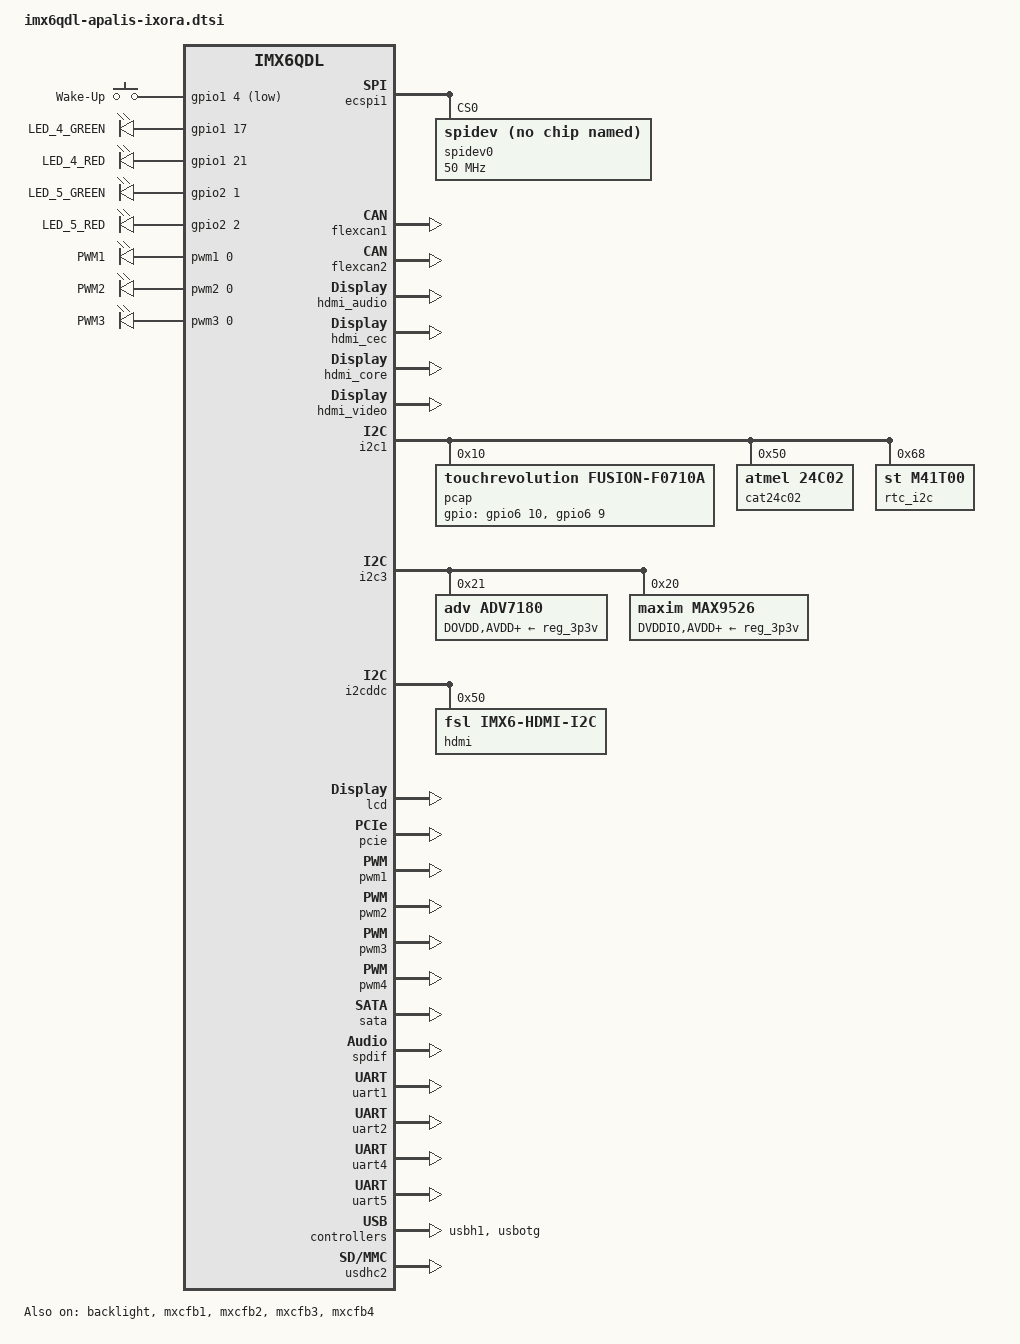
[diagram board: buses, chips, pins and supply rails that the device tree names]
/*
 * Copyright 2014-2015 Toradex AG
 * Copyright 2012 Freescale Semiconductor, Inc.
 * Copyright 2011 Linaro Ltd.
 *
 * The code contained herein is licensed under the GNU General Public
 * License. You may obtain a copy of the GNU General Public License
 * Version 2 or later at the following locations:
 *
 * http://www.opensource.org/licenses/gpl-license.html
 * http://www.gnu.org/copyleft/gpl.html
 */

/ {
	aliases {
		i2c0 = &i2cddc;
		i2c1 = &i2c1;
		i2c2 = &i2c2;
		i2c3 = &i2c3;
	};

	aliases {
		/* the following, together with kernel patches, forces a fixed assignment
		   between device id and usdhc controller */
		/* i.e. the eMMC on usdhc3 will be /dev/mmcblk0 */
		mmc0 = &usdhc3; /* eMMC */
		mmc2 = &usdhc2; /* SD1  4bit slot */
	};

	aliases {
		rtc0 = &rtc_i2c;
		rtc1 = "/soc/aips-bus@02000000/snvs@020cc000/snvs-rtc-lp@34";
	};

	gpio-keys {
		compatible = "gpio-keys";
		pinctrl-names = "default";
		pinctrl-0 = <&pinctrl_gpio_keys>;

		wakeup {
			label = "Wake-Up";
			gpios = <&gpio1 4 GPIO_ACTIVE_LOW>;
			linux,code = <KEY_WAKEUP>;
			debounce-interval = <10>;
			gpio-key,wakeup;
		};
	};

	leds {
		compatible = "gpio-leds";

		pinctrl-names = "default";
		pinctrl-0 = <&pinctrl_leds_ixora>;

		led4-green {
			label = "LED_4_GREEN";
			gpios = <&gpio1 17 GPIO_ACTIVE_HIGH>;
		};

		led4-red {
			label = "LED_4_RED";
			gpios = <&gpio1 21 GPIO_ACTIVE_HIGH>;
		};

		led5-green {
			label = "LED_5_GREEN";
			gpios = <&gpio2 1 GPIO_ACTIVE_HIGH>;
		};

		led5-red {
			label = "LED_5_RED";
			gpios = <&gpio2 2 GPIO_ACTIVE_HIGH>;
		};
	};

	pwmleds {
		compatible = "pwm-leds";
		ledpwm1 {
			label = "PWM1";
			pwms = <&pwm1 0 50000>;
			max-brightness = <255>;
		};

		ledpwm2 {
			label = "PWM2";
			pwms = <&pwm2 0 50000>;
			max-brightness = <255>;
		};

		ledpwm3 {
			label = "PWM3";
			pwms = <&pwm3 0 50000>;
			max-brightness = <255>;
		};
	};

	regulators {
		reg_usb_otg_vbus: usb_otg_vbus {
			status = "okay";
		};

		reg_usb_host_vbus: usb_host_vbus {
			status = "okay";
		};
	};

	v4l2_cap_0 {
		compatible = "fsl,imx6q-v4l2-capture";
		ipu_id = <0>;
		csi_id = <0>;
		mclk_source = <0>;
		status = "okay";
	};

#if 0
	v4l2_out {
		compatible = "fsl,mxc_v4l2_output";
		status = "okay";
	};
#endif
};

&backlight {
#if 0 /* PWM polarity: if 1 is brightest */
#if 0 /* Fusion 7 needs 10kHz PWM frequency */
	pwms = <&pwm4 0 100000>;
#endif
	brightness-levels = <0 4 8 16 32 64 128 255>;
	default-brightness-level = <6>;
#else /* PWM plarity: if 0 is brightest */
	brightness-levels = <0 127 191 223 239 247 251 255>;
	default-brightness-level = <1>;
#endif
	status = "okay";
};

/* Apalis SPI1 */
&ecspi1 {
	status = "okay";

	spidev0: spidev@1 {
		compatible = "spidev";
		reg = <0>;
		spi-max-frequency = <50000000>;
	};
};

&flexcan1 {
	status = "okay";
};

&flexcan2 {
	status = "okay";
};

&hdmi_audio {
	status = "okay";
};

&hdmi_cec {
	status = "okay";
};

&hdmi_core {
	status = "okay";
};

&hdmi_video {
	status = "okay";
};

/*
 * GEN1_I2C: I2C1_SDA/SCL on MXM3 209/211 (e.g. RTC on carrier
 * board)
 */
&i2c1 {
	status = "okay";

	pcap@10 {
		/* TouchRevolution Fusion 7 and 10 multi-touch controller */
		compatible = "touchrevolution,fusion-f0710a";
		reg = <0x10>;
		gpios = <&gpio6 10 0 /* MXM3 11, Pen down interrupt */
			 &gpio6  9 0 /* MXM3 13, Reset */
			>;
	};

	cat24c02@50 {
		compatible = "atmel,24c02";
		reg = <0x50>;
	};

	/* M41T0M6 real time clock on carrier board */
	rtc_i2c: rtc@68 {
		compatible = "st,m41t00";
		reg = <0x68>;
	};
};

/*
 * GEN2_I2C, CAM: I2C3_SDA/SCL on MXM3 201/203 (unused)
 */
&i2c3 {
	status = "okay";

	/* Video ADC on Analog Camera Module */
	adv7180: adv7180@21 {
		compatible = "adv,adv7180";
		reg = <0x21>;
		pinctrl-names = "default";
		pinctrl-0 = <&pinctrl_ipu1_csi0 &pinctrl_cam_mclk>;
		clocks = <&clks 200>;
		clock-names = "csi_mclk";
		DOVDD-supply = <&reg_3p3v>; /* 3.3v */
		AVDD-supply = <&reg_3p3v>;  /* 1.8v */
		DVDD-supply = <&reg_3p3v>;  /* 1.8v */
		PVDD-supply = <&reg_3p3v>;  /* 1.8v */
		csi_id = <0>;
		mclk = <24000000>;
		mclk_source = <1>;
		cvbs = <1>;
	};

	max9526: max9526@20 {
		compatible = "maxim,max9526";
		reg = <0x20>;
		pinctrl-names = "default";
		pinctrl-0 = <&pinctrl_ipu1_csi0 &pinctrl_cam_mclk>;
		clocks = <&clks 200>;
		clock-names = "csi_mclk";
		DVDDIO-supply = <&reg_3p3v>; /* 3.3v */
		AVDD-supply = <&reg_3p3v>;  /* 1.8v */
		DVDD-supply = <&reg_3p3v>;  /* 1.8v */
		csi_id = <0>;
		mclk = <24000000>;
		mclk_source = <1>;
		cvbs = <1>;
	};
};

/*
 * DDC_I2C: I2C2_SDA/SCL on MXM3 205/207
 */
&i2cddc {
	status = "okay";

	hdmi: edid@50 {
		compatible = "fsl,imx6-hdmi-i2c";
		reg = <0x50>;
	};
};

&iomuxc {
	/*
	 * Mux the Apalis GPIOs, GPIO7 used for PCIe reset,
	 * GPIO5, 6 used by optional fusion_F0710A kernel module
	 */
	pinctrl-names = "default";
	pinctrl-0 = <&pinctrl_apalis_gpio1 &pinctrl_apalis_gpio2
		     &pinctrl_apalis_gpio3 &pinctrl_apalis_gpio4
		     &pinctrl_apalis_gpio5 &pinctrl_apalis_gpio6
		     &pinctrl_apalis_gpio7 &pinctrl_apalis_gpio8>;

	leds_ixora {
		pinctrl_leds_ixora: leds-ixora {
			fsl,pins = <
				MX6QDL_PAD_SD1_DAT1__GPIO1_IO17 PAD_CTRL_HYS_PU
				MX6QDL_PAD_SD1_DAT3__GPIO1_IO21 PAD_CTRL_HYS_PU
				MX6QDL_PAD_NANDF_D1__GPIO2_IO01 PAD_CTRL_HYS_PU
				MX6QDL_PAD_NANDF_D2__GPIO2_IO02 PAD_CTRL_HYS_PU
			>;
		};
	};
};

&lcd {
	status = "okay";
};

&mxcfb1 {
	status = "okay";
};

&mxcfb2 {
	status = "okay";
};

&mxcfb3 {
	status = "okay";
};

&mxcfb4 {
	status = "okay";
};

&pcie {
	reset-ep-gpio = <&gpio1 28 0>;
	status = "okay";
};

&pwm1 {
	status = "okay";
};

&pwm2 {
	status = "okay";
};

&pwm3 {
	status = "okay";
};

&pwm4 {
	status = "okay";
};

&sata {
	status = "okay";
};

&sound_hdmi {
	status = "okay";
};

&sound_spdif {
	status = "okay";
};

&spdif {
	status = "okay";
};

&uart1 {
	status = "okay";
};

&uart2 {
	status = "okay";
#if 0
	linux,rs485-enabled-at-boot-time;
#endif
};

&uart4 {
	status = "okay";
};

&uart5 {
	status = "okay";
};

&usbh1 {
	status = "okay";
};

&usbotg {
	status = "okay";
};

/* SD1 */
&usdhc2 {
	status = "okay";
};
